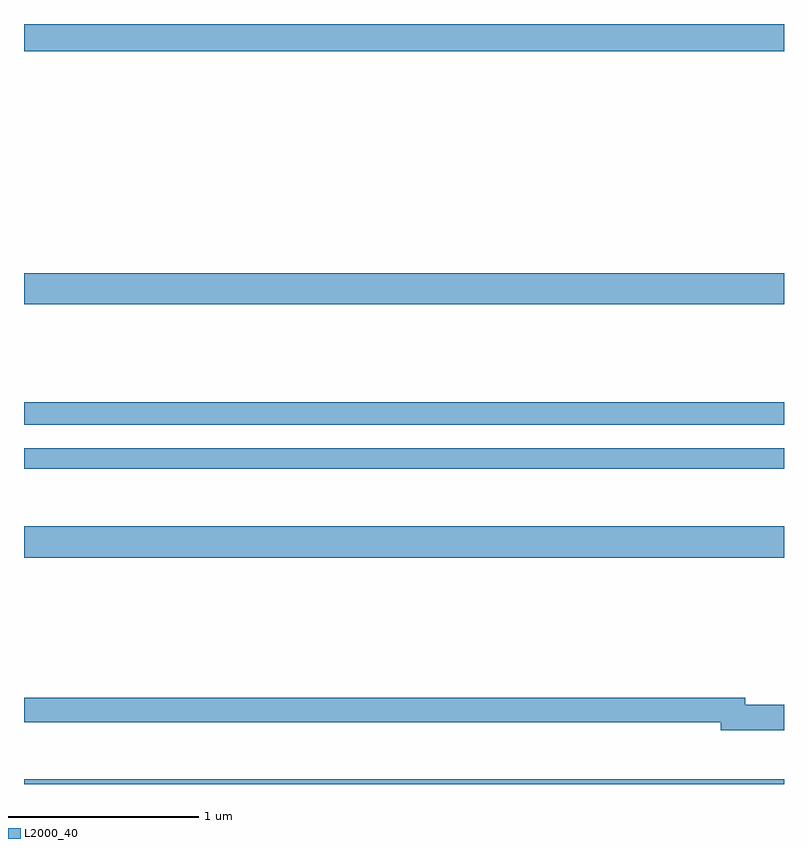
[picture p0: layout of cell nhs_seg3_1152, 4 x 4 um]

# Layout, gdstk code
import gdstk
lib = gdstk.Library(unit=1e-6, precision=1e-09)
def R(c, l, rs):  # rectangles x0, y0, x1, y1
    for r in rs: c.add(gdstk.rectangle(r[:2], r[2:], *l))
def P(c, l, *ps):  # polygons
    for p in ps: c.add(gdstk.Polygon(p, *l))
L2000_40 = (2000, 40)

nhs_seg3_1152 = lib.new_cell('nhs_seg3_1152')
R(nhs_seg3_1152, L2000_40, [(171,690.4,175,690.424), (171,691.592,175,691.756), (171,692.058,175,692.166), (171,692.292,175,692.408), (171,692.924,175,693.088), (171,694.256,175,694.4)])
P(nhs_seg3_1152, L2000_40, [(175,690.818),(174.796,690.818),(174.796,690.854),(171,690.854),(171,690.726),(174.668,690.726),(174.668,690.683),(175,690.683)])

lib.write_gds('nhs_seg3_1152.gds')
